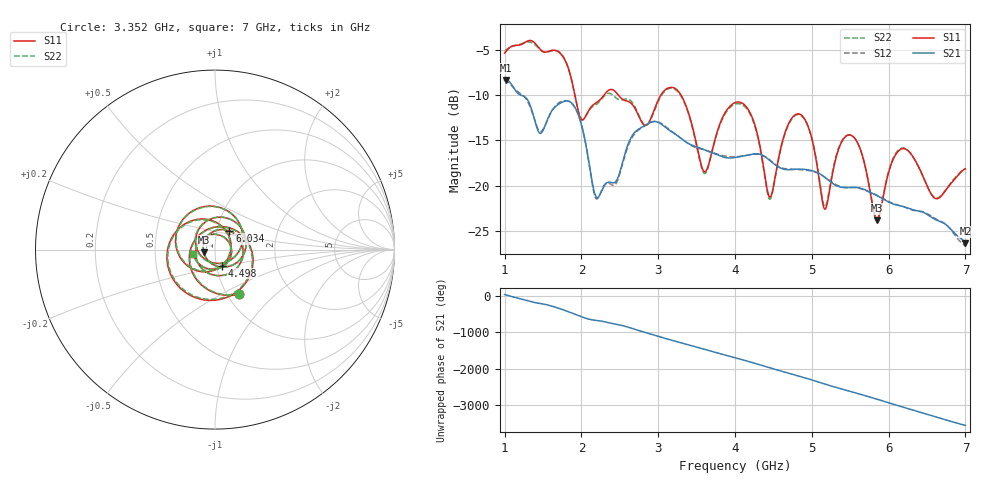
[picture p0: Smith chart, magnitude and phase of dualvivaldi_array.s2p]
! TOUCHSTONE file generated by CST MICROWAVE STUDIO
! Date and time: Wed Nov 11 15:39:01 2026
! Project name: dualvivaldi_array.cst
! Parameters = {R=0.0363924; c1=0.536761; c2=-2.03676; d=24; h=1.6; l=150; lf=121.413; lg=17.4753; lo=39.5999; ls=28.5868; tc=0.035; w=85; wf=3}
! Header version: 2024
! Port assignment regex: !\s*Touchstone port\s*([0-9]+)\s*=\s*(CST MWS port|CST DES external port|CST DES block port)\s*(.+)\s* \(\"(.*)\"\)(\s*mode\s*([0-9]+))?.*
! Touchstone port assignment:
! Touchstone port 1 = CST MWS port 1 ("")
! Touchstone port 2 = CST MWS port 2 ("")
# GHz S MA R 50
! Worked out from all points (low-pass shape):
!   1001 points, 1 GHz to 7 GHz, reference 50 ohm
!   highest |S21| = -8.34 dB at 1.018 GHz (marker M1); lowest = -26.4 dB at 7 GHz (marker M2)
!   |S21| within 3 dB of the highest: start of sweep to 1.342 GHz; 1.655 GHz to 1.915 GHz (259.6 MHz wide, 14.5 % of centre)
!   lowest |S11| = -23.8 dB at 5.848 GHz (marker M3), VSWR 1.14, Z = 44.1 - j1.37 ohm
!   |S11| at or under -10 dB: 1.915 GHz to 2.295 GHz (380 MHz wide, 18.1 % of centre); 2.481 GHz to 3.035 GHz (553.6 MHz wide, 20.1 % of centre); 3.297 GHz to end of sweep
!   |S22| runs from -23.6 to -4.1 dB; largest |S21 - S12| = 0.0095
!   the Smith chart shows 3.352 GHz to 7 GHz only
!   S11 on the Smith chart (normalised r, x): 3.352 GHz: 1.13, -0.61; 4.498 GHz: 1.07, -0.19; 6.034 GHz: 1.15, +0.24; 7 GHz: 0.78, -0.04
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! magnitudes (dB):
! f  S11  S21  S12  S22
! 1 GHz  -5.4  -8.4  -8.3  -5.1
! 1.018 GHz  -5.2  -8.3  -8.4  -5.0
! 1.462 GHz  -4.9  -14.2  -14.0  -5.0
! 1.714 GHz  -5.3  -11.0  -10.8  -5.2
! 2.002 GHz  -12.7  -13.3  -13.3  -12.7
! 2.206 GHz  -10.8  -21.4  -21.5  -11.0
! 3.004 GHz  -10.5  -13.0  -13.0  -10.6
! 3.352 GHz  -11.0  -15.1  -15.1  -11.0
! 3.604 GHz  -18.5  -16.1  -16.1  -18.7
! 4 GHz  -10.8  -16.9  -16.8  -11.0
! 4.498 GHz  -20.2  -17.6  -17.5  -20.3
! 4.75 GHz  -12.4  -18.2  -18.2  -12.5
! 5.002 GHz  -14.9  -18.4  -18.4  -14.8
! 5.17 GHz  -22.6  -19.1  -19.1  -22.3
! 5.374 GHz  -15.4  -20.2  -20.1  -15.3
! 5.554 GHz  -14.7  -20.2  -20.2  -14.7
! 5.848 GHz  -23.8  -21.1  -21.1  -23.6
! 6.004 GHz  -18.4  -21.8  -21.8  -18.3
! 6.034 GHz  -17.6  -22.0  -21.9  -17.5
! 6.244 GHz  -16.1  -22.5  -22.5  -16.1
! 6.622 GHz  -21.5  -23.8  -23.7  -21.4
! 7 GHz  -18.2  -26.4  -26.7  -18.1
